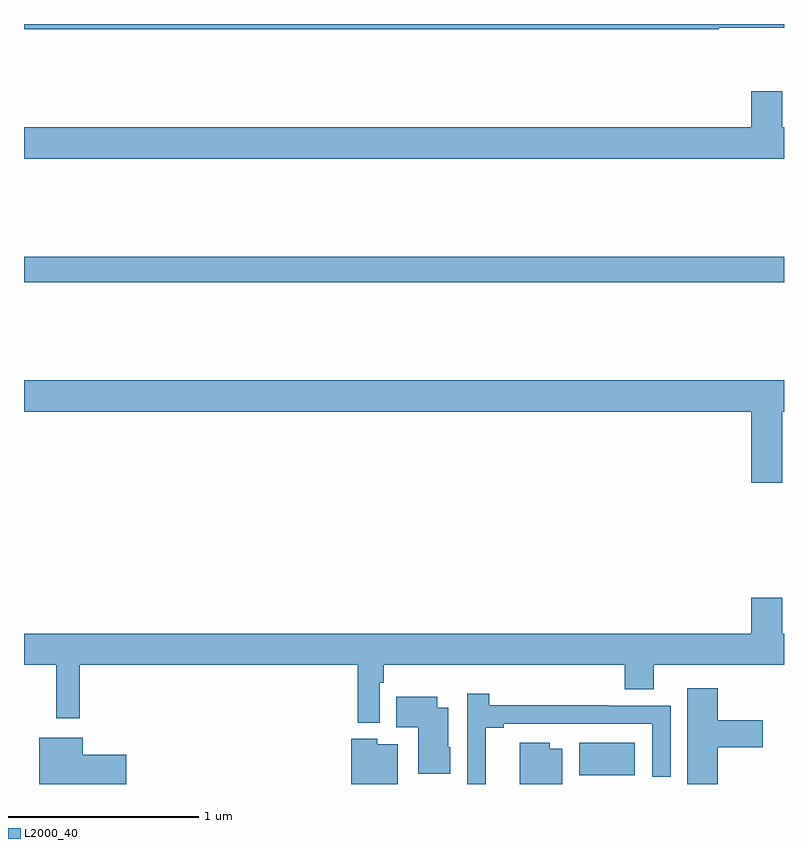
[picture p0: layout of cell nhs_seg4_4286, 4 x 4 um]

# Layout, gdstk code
import gdstk
lib = gdstk.Library(unit=1e-6, precision=1e-09)
def R(c, l, rs):  # rectangles x0, y0, x1, y1
    for r in rs: c.add(gdstk.rectangle(r[:2], r[2:], *l))
def P(c, l, *ps):  # polygons
    for p in ps: c.add(gdstk.Polygon(p, *l))
L2000_40 = (2000, 40)

nhs_seg4_4286 = lib.new_cell('nhs_seg4_4286')
R(nhs_seg4_4286, L2000_40, [(343.922,754.946,344.215,755.116), (341,757.54,345,757.676)])
P(nhs_seg4_4286, L2000_40, [(344.656,758.88),(345,758.88),(345,758.9),(341,758.9),(341,758.872),(344.656,758.872)],
  [(345,758.356),(344.992,758.356),(344.992,758.545),(344.828,758.545),(344.828,758.356),(341,758.356),(341,758.192),(345,758.192)],
  [(344.992,756.86),(345,756.86),(345,757.024),(341,757.024),(341,756.86),(344.828,756.86),(344.828,756.486),(344.992,756.486)],
  [(341,755.528),(341.171,755.528),(341.171,755.247),(341.293,755.247),(341.293,755.528),(342.757,755.528),(342.757,755.222),(342.873,755.222),(342.873,755.432),(342.893,755.432),(342.893,755.528),(344.162,755.528),(344.162,755.398),(344.314,755.398),(344.314,755.528),(345,755.528),(345,755.692),(344.992,755.692),(344.992,755.881),(344.828,755.881),(344.828,755.692),(341,755.692)],
  [(344.651,755.093),(344.887,755.093),(344.887,755.235),(344.651,755.235),(344.651,755.404),(344.492,755.404),(344.492,754.9),(344.651,754.9)],
  [(343.43,755.197),(343.525,755.197),(343.525,755.217),(344.307,755.217),(344.307,754.938),(344.403,754.938),(344.403,755.313),(344.078,755.313),(344.078,755.315),(343.448,755.315),(343.448,755.374),(343.332,755.374),(343.332,754.9),(343.43,754.9)],
  [(343.243,755.094),(343.234,755.094),(343.234,755.302),(343.174,755.302),(343.174,755.359),(342.958,755.359),(342.958,755.198),(343.076,755.198),(343.076,754.954),(343.243,754.954)],
  [(341.539,755.055),(341.308,755.055),(341.308,755.143),(341.081,755.143),(341.081,754.9),(341.539,754.9)],
  [(342.967,755.11),(342.858,755.11),(342.858,755.137),(342.722,755.137),(342.722,754.9),(342.967,754.9)],
  [(343.834,755.086),(343.768,755.086),(343.768,755.116),(343.61,755.116),(343.61,754.9),(343.834,754.9)])

lib.write_gds('nhs_seg4_4286.gds')
